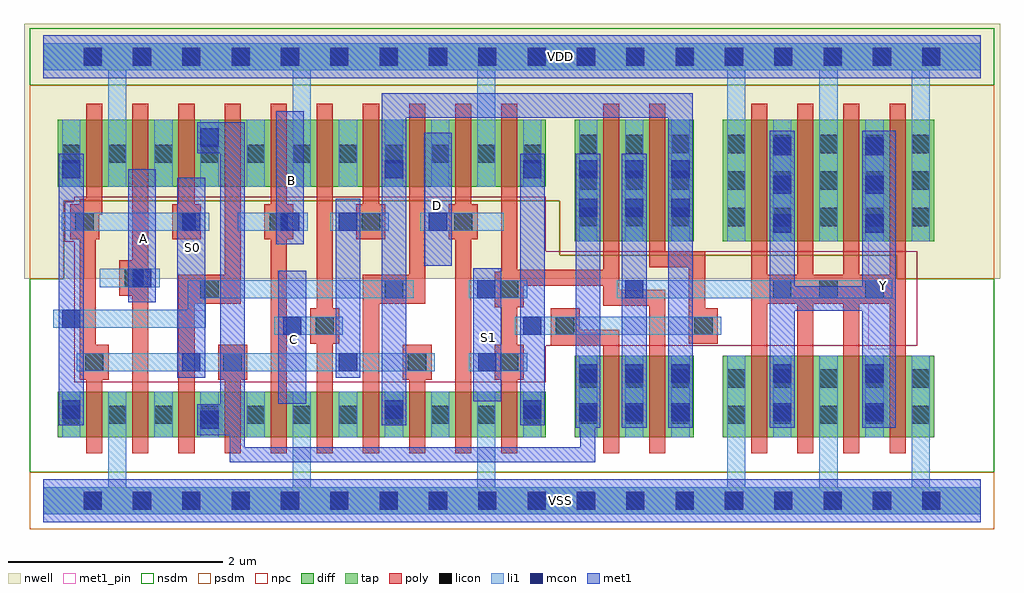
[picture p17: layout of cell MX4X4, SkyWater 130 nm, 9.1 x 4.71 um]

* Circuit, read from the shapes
.subckt MX4X4 A B C D S0 S1 VDD VSS Y
XM1 VSS S0 n1 VSS sky130_fd_pr__nfet_01v8 w=0.425 l=0.15
XM2 n2 A VSS VSS sky130_fd_pr__nfet_01v8 w=0.425 l=0.15
XM3 n3 n1 n2 VSS sky130_fd_pr__nfet_01v8 w=0.425 l=0.15
XM4 n4 S0 n3 VSS sky130_fd_pr__nfet_01v8 w=0.425 l=0.15
XM5 VSS B n4 VSS sky130_fd_pr__nfet_01v8 w=0.425 l=0.15
XM6 n5 C VSS VSS sky130_fd_pr__nfet_01v8 w=0.425 l=0.15
XM7 n6 n1 n5 VSS sky130_fd_pr__nfet_01v8 w=0.425 l=0.15
XM8 n7 S0 n6 VSS sky130_fd_pr__nfet_01v8 w=0.425 l=0.15
XM9 VSS D n7 VSS sky130_fd_pr__nfet_01v8 w=0.425 l=0.15
XM10 n8 S1 VSS VSS sky130_fd_pr__nfet_01v8 w=0.425 l=0.15
XM11 n9 n8 n3 VSS sky130_fd_pr__nfet_01v8 w=0.76 l=0.15
XM12 n6 S1 n9 VSS sky130_fd_pr__nfet_01v8 w=0.76 l=0.15
XM13 Y n9 VSS VSS sky130_fd_pr__nfet_01v8 w=0.76 l=0.15 m=4
XM14 VDD S0 n1 VDD sky130_fd_pr__pfet_01v8 w=0.625 l=0.15
XM15 n10 A VDD VDD sky130_fd_pr__pfet_01v8 w=0.625 l=0.15
XM16 n3 S0 n10 VDD sky130_fd_pr__pfet_01v8 w=0.625 l=0.15
XM17 n11 n1 n3 VDD sky130_fd_pr__pfet_01v8 w=0.625 l=0.15
XM18 VDD B n11 VDD sky130_fd_pr__pfet_01v8 w=0.625 l=0.15
XM19 n12 C VDD VDD sky130_fd_pr__pfet_01v8 w=0.625 l=0.15
XM20 n6 S0 n12 VDD sky130_fd_pr__pfet_01v8 w=0.625 l=0.15
XM21 n13 n1 n6 VDD sky130_fd_pr__pfet_01v8 w=0.625 l=0.15
XM22 VDD D n13 VDD sky130_fd_pr__pfet_01v8 w=0.625 l=0.15
XM23 n8 S1 VDD VDD sky130_fd_pr__pfet_01v8 w=0.625 l=0.15
XM24 n9 S1 n3 VDD sky130_fd_pr__pfet_01v8 w=1.13 l=0.15
XM25 n6 n8 n9 VDD sky130_fd_pr__pfet_01v8 w=1.13 l=0.15
XM26 Y n9 VDD VDD sky130_fd_pr__pfet_01v8 w=1.13 l=0.15 m=4
.ends

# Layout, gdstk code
from math import pi, radians
import gdstk
lib = gdstk.Library(unit=1e-6, precision=1e-09)
def R(c, l, rs):  # rectangles x0, y0, x1, y1
    for r in rs: c.add(gdstk.rectangle(r[:2], r[2:], *l))
def A(c, l, x, y, w, h, nx, ny, dx, dy):  # array of equal rectangles
    R(c, l, [(x+i*dx, y+j*dy, x+i*dx+w, y+j*dy+h) for i in range(nx) for j in range(ny)])
def P(c, l, *ps):  # polygons
    for p in ps: c.add(gdstk.Polygon(p, *l))
nwell = (64, 20)
diff = (65, 20)
tap = (65, 44)
poly = (66, 20)
licon = (66, 44)
li1 = (67, 20)
mcon = (67, 44)
met1_pin = (68, 16)
met1 = (68, 20)
nsdm = (93, 44)
psdm = (94, 20)
npc = (95, 20)

l1m1_c_cdns_750710154090 = lib.new_cell('L1M1_C_CDNS_750710154090')
R(l1m1_c_cdns_750710154090, li1, [(-0.165,-0.085,0.165,0.085)])
R(l1m1_c_cdns_750710154090, mcon, [(-0.085,-0.085,0.085,0.085)])
R(l1m1_c_cdns_750710154090, met1, [(-0.115,-0.145,0.115,0.145)])

pyl1con_c_cdns_750710154 = lib.new_cell('PYL1CON_C_CDNS_750710154092')
R(pyl1con_c_cdns_750710154, poly, [(-0.135,-0.165,0.135,0.165)])
R(pyl1con_c_cdns_750710154, licon, [(-0.085,-0.085,0.085,0.085)])
R(pyl1con_c_cdns_750710154, npc, [(-0.185,-0.185,0.185,0.185)])

l1m1_c_cdns_750710154091 = lib.new_cell('L1M1_C_CDNS_750710154091')
R(l1m1_c_cdns_750710154091, li1, [(-0.085,-0.165,0.085,0.165)])
R(l1m1_c_cdns_750710154091, mcon, [(-0.085,-0.085,0.085,0.085)])
R(l1m1_c_cdns_750710154091, met1, [(-0.115,-0.145,0.115,0.145)])

l1m1_c_cdns_750710154094 = lib.new_cell('L1M1_C_CDNS_750710154094')
R(l1m1_c_cdns_750710154094, li1, [(-0.085,-0.345,0.085,0.345)])
R(l1m1_c_cdns_750710154094, mcon, [(-0.085,-0.265,0.085,-0.095), (-0.085,0.095,0.085,0.265)])
R(l1m1_c_cdns_750710154094, met1, [(-0.115,-0.325,0.115,0.325)])

l1m1_c_cdns_750710154098 = lib.new_cell('L1M1_C_CDNS_750710154098')
R(l1m1_c_cdns_750710154098, li1, [(-0.085,-0.525,0.085,0.525)])
A(l1m1_c_cdns_750710154098, mcon, -0.085, -0.445, 0.17, 0.17, 1, 3, 0, 0.36)
R(l1m1_c_cdns_750710154098, met1, [(-0.115,-0.505,0.115,0.505)])

licondiff_c_cdns_7507101 = lib.new_cell('LICONDIFF_C_CDNS_7507101540911')
R(licondiff_c_cdns_7507101, diff, [(-0.125,-0.145,0.125,0.145)])
R(licondiff_c_cdns_7507101, licon, [(-0.085,-0.085,0.085,0.085), (-0.085,-0.085,0.085,0.085)])

c_pyl1con_c_cdns_750710154 = lib.new_cell('PYL1CON_C_CDNS_750710154099')
R(c_pyl1con_c_cdns_750710154, poly, [(-0.135,-0.29,0.135,0.29)])
R(c_pyl1con_c_cdns_750710154, licon, [(-0.085,-0.085,0.085,0.085)])
R(c_pyl1con_c_cdns_750710154, npc, [(-0.185,-0.185,0.185,0.185)])

mx4x4 = lib.new_cell('MX4X4')
R(mx4x4, nwell, [(-0.18,2.07,8.92,4.445), (4.775,2.24,5.605,3.73), (5.245,2.24,6.245,3.73), (6.155,2.24,8.485,3.73), (-0.045,2.745,0.785,3.73), (0.425,2.745,1.215,3.73), (0.855,2.745,1.645,3.73), (1.285,2.745,2.245,3.73), (1.885,2.745,2.505,3.73), (2.145,2.745,2.935,3.73), (2.575,2.745,3.365,3.73), (3.005,2.745,3.965,3.73), (3.605,2.745,4.395,3.73), (4.035,2.745,4.865,3.73), (-0.18,3.875,8.92,4.445)])
A(mx4x4, diff, 0.4, 0.59, 0.15, 0.425, 10, 1, 0.43, 0)
A(mx4x4, diff, 0.55, 0.59, 0.055, 0.425, 3, 1, 0.43, 0)
A(mx4x4, diff, 0.605, 0.59, 0.225, 0.425, 3, 1, 0.43, 0)
A(mx4x4, diff, 2.27, 0.59, 0.055, 0.425, 3, 1, 0.43, 0)
A(mx4x4, diff, 2.325, 0.59, 0.225, 0.425, 3, 1, 0.43, 0)
A(mx4x4, diff, 6.6, 0.59, 0.15, 0.76, 4, 1, 0.43, 0)
A(mx4x4, diff, 6.75, 0.59, 0.28, 0.76, 3, 1, 0.43, 0)
A(mx4x4, diff, 6.6, 2.42, 0.15, 1.13, 4, 1, 0.43, 0)
A(mx4x4, diff, 6.75, 2.42, 0.28, 1.13, 3, 1, 0.43, 0)
A(mx4x4, diff, 0.4, 2.925, 0.15, 0.625, 10, 1, 0.43, 0)
A(mx4x4, diff, 0.55, 2.925, 0.055, 0.625, 3, 1, 0.43, 0)
A(mx4x4, diff, 0.605, 2.925, 0.225, 0.625, 3, 1, 0.43, 0)
A(mx4x4, diff, 2.27, 2.925, 0.055, 0.625, 3, 1, 0.43, 0)
A(mx4x4, diff, 2.325, 2.925, 0.225, 0.625, 3, 1, 0.43, 0)
R(mx4x4, diff, [(0.135,0.59,0.4,1.015), (1.84,0.59,2.065,1.015), (2.065,0.59,2.12,1.015), (3.56,0.59,3.785,1.015), (3.785,0.59,3.84,1.015), (3.99,0.59,4.215,1.015), (4.215,0.59,4.27,1.015), (4.42,0.59,4.685,1.015), (4.955,0.59,5.22,1.35), (5.22,0.59,5.37,1.35), (5.37,0.59,5.425,1.35), (5.425,0.59,5.65,1.35), (5.65,0.59,5.8,1.35), (5.8,0.59,6.065,1.35), (6.335,0.59,6.6,1.35), (8.04,0.59,8.305,1.35), (4.955,2.42,5.22,3.55), (5.22,2.42,5.37,3.55), (5.37,2.42,5.425,3.55), (5.425,2.42,5.65,3.55), (5.65,2.42,5.8,3.55), (5.8,2.42,6.065,3.55), (6.335,2.42,6.6,3.55), (8.04,2.42,8.305,3.55), (0.135,2.925,0.4,3.55), (1.84,2.925,2.065,3.55), (2.065,2.925,2.12,3.55), (3.56,2.925,3.785,3.55), (3.785,2.925,3.84,3.55), (3.99,2.925,4.215,3.55), (4.215,2.925,4.27,3.55), (4.42,2.925,4.685,3.55)])
A(mx4x4, poly, 0.4, 0.44, 0.15, 0.055, 10, 2, 0.43, 0.67)
A(mx4x4, poly, 6.6, 0.44, 0.15, 0.055, 4, 2, 0.43, 1.005)
A(mx4x4, poly, 0.4, 0.495, 0.15, 0.095, 10, 2, 0.43, 0.52)
A(mx4x4, poly, 6.6, 0.495, 0.15, 0.095, 4, 2, 0.43, 0.855)
A(mx4x4, poly, 0.4, 0.59, 0.15, 0.425, 10, 1, 0.43, 0)
A(mx4x4, poly, 6.6, 0.59, 0.15, 0.76, 4, 1, 0.43, 0)
A(mx4x4, poly, 6.6, 2.27, 0.15, 0.055, 4, 2, 0.43, 1.375)
A(mx4x4, poly, 6.6, 2.325, 0.15, 0.095, 4, 2, 0.43, 1.225)
A(mx4x4, poly, 6.6, 2.42, 0.15, 1.13, 4, 1, 0.43, 0)
A(mx4x4, poly, 0.83, 2.725, 0.15, 0.055, 9, 1, 0.43, 0)
A(mx4x4, poly, 1.69, 2.83, 0.15, 0.095, 3, 1, 0.43, 0)
A(mx4x4, poly, 3.41, 2.83, 0.15, 0.095, 3, 1, 0.43, 0)
A(mx4x4, poly, 0.4, 2.925, 0.15, 0.625, 10, 1, 0.43, 0)
A(mx4x4, poly, 0.4, 3.55, 0.15, 0.095, 10, 1, 0.43, 0)
A(mx4x4, poly, 0.4, 3.645, 0.15, 0.055, 10, 1, 0.43, 0)
R(mx4x4, poly, [(5.22,0.44,5.37,0.495), (5.65,0.44,5.8,0.495), (5.22,0.495,5.37,0.59), (5.65,0.495,5.8,0.59), (5.22,0.59,5.37,1.35), (5.65,0.59,5.8,1.35), (5.22,1.35,5.37,1.445), (5.65,1.35,5.8,1.445), (5.22,1.445,5.37,1.5), (5.65,1.445,5.8,1.5), (5.22,2.27,5.37,2.325), (5.65,2.27,5.8,2.325), (5.22,2.325,5.37,2.42), (5.65,2.325,5.8,2.42), (5.22,2.42,5.37,3.55), (5.65,2.42,5.8,3.55), (2.98,2.765,3.13,2.925), (1.26,2.775,1.41,2.925), (0.4,2.795,0.55,2.85), (0.4,2.83,0.55,2.925), (0.83,2.83,0.98,2.925), (5.22,3.55,5.37,3.645), (5.65,3.55,5.8,3.645), (5.22,3.645,5.37,3.7), (5.65,3.645,5.8,3.7)])
A(mx4x4, licon, 0.375, -0.085, 0.17, 0.17, 18, 2, 0.46, 4.14)
A(mx4x4, licon, 0.605, 0.715, 0.17, 0.17, 5, 2, 0.86, 2.435)
A(mx4x4, licon, 4.995, 0.715, 0.17, 0.17, 3, 2, 0.43, 0.34)
A(mx4x4, licon, 6.375, 0.715, 0.17, 0.17, 5, 2, 0.43, 0.34)
A(mx4x4, licon, 4.995, 2.56, 0.17, 0.17, 3, 3, 0.43, 0.34)
A(mx4x4, licon, 6.375, 2.56, 0.17, 0.17, 5, 3, 0.43, 0.34)
R(mx4x4, licon, [(0.175,0.715,0.345,0.885), (4.475,0.715,4.645,0.885), (0.175,3.15,0.345,3.32), (4.475,3.15,4.645,3.32)])
A(mx4x4, li1, 0.605, 0.59, 0.17, 0.425, 5, 1, 0.86, 0)
A(mx4x4, li1, 4.995, 0.59, 0.17, 0.76, 3, 1, 0.43, 0)
A(mx4x4, li1, 6.375, 0.59, 0.17, 0.76, 5, 1, 0.43, 0)
A(mx4x4, li1, 4.995, 2.42, 0.17, 1.13, 3, 1, 0.43, 0)
A(mx4x4, li1, 6.375, 2.42, 0.17, 1.13, 5, 1, 0.43, 0)
A(mx4x4, li1, 0.605, 2.925, 0.17, 0.625, 5, 1, 0.86, 0)
R(mx4x4, li1, [(0.175,0.59,0.345,1.015), (4.475,0.59,4.645,1.015), (0.175,2.925,0.345,3.55), (4.475,2.925,4.645,3.55)])
A(mx4x4, mcon, 0.375, -0.085, 0.17, 0.17, 18, 2, 0.46, 4.14)
R(mx4x4, met1_pin, [(2.19,0.905,2.45,2.145), (4.01,0.925,4.27,2.165), (7.69,1.41,7.95,2.65), (1.25,1.77,1.51,3.01), (0.79,1.85,1.05,3.09), (3.55,2.19,3.81,3.43), (2.17,2.39,2.43,3.63)])
R(mx4x4, met1, [(7.635,0.68,7.95,3.45)])
R(mx4x4, nsdm, [(-0.005,0.46,0.615,1.145), (0.595,0.46,1.045,1.145), (1.025,0.46,1.475,1.145), (1.455,0.46,2.075,1.145), (2.055,0.46,2.335,1.145), (2.315,0.46,2.765,1.145), (2.745,0.46,3.195,1.145), (3.175,0.46,3.795,1.145), (3.775,0.46,4.225,1.145), (4.205,0.46,4.825,1.145), (4.815,0.46,5.435,1.48), (5.415,0.46,6.205,1.48), (6.195,0.46,8.445,1.48), (-0.125,3.875,8.865,4.405), (-0.125,3.93,8.865,4.35)])
P(mx4x4, nsdm, [(8.865,2.07),(7.955,2.07),(7.955,2.29),(4.815,2.29),(4.815,2.795),(0.19,2.795),(0.19,2.07),(-0.125,2.07),(-0.125,0.265),(8.865,0.265)])
R(mx4x4, psdm, [(-0.125,-0.265,8.865,0.265), (-0.125,-0.21,8.865,0.21), (4.815,2.29,5.435,3.68), (5.415,2.29,6.205,3.68), (6.195,2.29,8.445,3.68), (-0.005,2.795,0.615,3.68), (0.595,2.795,1.045,3.68), (1.025,2.795,1.475,3.68), (1.455,2.795,2.075,3.68), (2.055,2.795,2.335,3.68), (2.315,2.795,2.765,3.68), (2.745,2.795,3.195,3.68), (3.175,2.795,3.795,3.68), (3.775,2.795,4.225,3.68), (4.205,2.795,4.825,3.68)])
P(mx4x4, psdm, [(8.865,3.875),(-0.125,3.875),(-0.125,2.07),(0.19,2.07),(0.19,2.795),(4.815,2.795),(4.815,2.29),(7.955,2.29),(7.955,2.07),(8.865,2.07)])
P(mx4x4, npc, [(8.15,2.325),(4.685,2.325),(4.685,2.835),(0.29,2.835),(0.29,1.105),(4.685,1.105),(4.685,1.445),(8.15,1.445)])
mx4x4.add(gdstk.FlexPath([(7.965,1.445),(7.965,2.325)], 0.15, ends="flush", simple_path=True, layer=66, datatype=20))  # poly
mx4x4.add(gdstk.FlexPath([(7.535,1.445),(7.535,2.325)], 0.15, ends="flush", simple_path=True, layer=66, datatype=20))  # poly
mx4x4.add(gdstk.FlexPath([(6.675,1.445),(6.675,2.325)], 0.15, ends="flush", simple_path=True, layer=66, datatype=20))  # poly
mx4x4.add(gdstk.FlexPath([(7.105,1.445),(7.105,2.325)], 0.15, ends="flush", simple_path=True, layer=66, datatype=20))  # poly
mx4x4.add(gdstk.FlexPath([(3.915,1.11),(3.915,2.83)], 0.15, ends="flush", simple_path=True, layer=66, datatype=20))  # poly
mx4x4.add(gdstk.FlexPath([(4.345,1.11),(4.345,2.83)], 0.15, ends="flush", simple_path=True, layer=66, datatype=20))  # poly
mx4x4.add(gdstk.FlexPath([(0.905,1.11),(0.905,2.83)], 0.15, ends="flush", simple_path=True, layer=66, datatype=20))  # poly
mx4x4.add(gdstk.FlexPath([(2.195,1.11),(2.195,2.83)], 0.15, ends="flush", simple_path=True, layer=66, datatype=20))  # poly
mx4x4.add(gdstk.FlexPath([(2.625,1.11),(2.625,2.83)], 0.15, ends="flush", simple_path=True, layer=66, datatype=20))  # poly
mx4x4.add(gdstk.FlexPath([(5.295,1.89),(5.295,2.325)], 0.15, ends=(0.075, 0), simple_path=True, layer=66, datatype=20))  # poly
mx4x4.add(gdstk.FlexPath([(5.295,1.89),(5.725,1.89)], 0.15, ends="extended", simple_path=True, layer=66, datatype=20))  # poly
mx4x4.add(gdstk.FlexPath([(5.725,1.89),(5.725,1.445)], 0.15, ends=(0.075, 0), simple_path=True, layer=66, datatype=20))  # poly
mx4x4.add(gdstk.FlexPath([(5.65,2.25),(6.095,2.25)], 0.15, ends=(0, 0.075), simple_path=True, layer=66, datatype=20))  # poly
mx4x4.add(gdstk.FlexPath([(6.095,2.25),(6.095,1.465)], 0.15, ends=(0.075, 0), simple_path=True, layer=66, datatype=20))  # poly
mx4x4.add(gdstk.FlexPath([(5.37,2.08),(4.27,2.08)], 0.15, ends="flush", simple_path=True, layer=66, datatype=20))  # poly
mx4x4.add(gdstk.FlexPath([(5.37,1.52),(4.73,1.52)], 0.15, ends="flush", simple_path=True, layer=66, datatype=20))  # poly
mx4x4.add(gdstk.FlexPath([(1.765,2.83),(1.765,1.97)], 0.15, ends=(0, 0.075), simple_path=True, layer=66, datatype=20))  # poly
mx4x4.add(gdstk.FlexPath([(1.765,1.97),(1.335,1.97)], 0.15, ends="extended", simple_path=True, layer=66, datatype=20))  # poly
mx4x4.add(gdstk.FlexPath([(1.335,1.97),(1.335,1.11)], 0.15, ends=(0.075, 0), simple_path=True, layer=66, datatype=20))  # poly
mx4x4.add(gdstk.FlexPath([(3.485,2.83),(3.485,1.97)], 0.15, ends=(0, 0.075), simple_path=True, layer=66, datatype=20))  # poly
mx4x4.add(gdstk.FlexPath([(3.485,1.97),(3.055,1.97)], 0.15, ends="extended", simple_path=True, layer=66, datatype=20))  # poly
mx4x4.add(gdstk.FlexPath([(3.055,1.97),(3.055,1.11)], 0.15, ends=(0.075, 0), simple_path=True, layer=66, datatype=20))  # poly
mx4x4.add(gdstk.FlexPath([(0.415,1.125),(0.415,2.74)], 0.15, ends=(0, 0.075), simple_path=True, layer=66, datatype=20))  # poly
mx4x4.add(gdstk.FlexPath([(0.415,2.74),(0.55,2.74)], 0.15, ends=(0.075, 0), simple_path=True, layer=66, datatype=20))  # poly
mx4x4.add(gdstk.FlexPath([(0,4.14),(8.74,4.14)], 0.4, ends="flush", simple_path=True, layer=68, datatype=16))  # met1_pin
mx4x4.add(gdstk.FlexPath([(0,0),(8.74,0)], 0.4, ends="flush", simple_path=True, layer=68, datatype=16))  # met1_pin
mx4x4.add(gdstk.FlexPath([(5.075,0.79),(5.08,0.79)], 0.14, ends=(0.07, 0), simple_path=True, layer=68, datatype=20))  # met1
mx4x4.add(gdstk.FlexPath([(5.075,0.43),(5.075,0.79)], 0.14, ends="extended", simple_path=True, layer=68, datatype=20))  # met1
mx4x4.add(gdstk.FlexPath([(1.81,0.43),(5.075,0.43)], 0.14, ends="extended", simple_path=True, layer=68, datatype=20))  # met1
mx4x4.add(gdstk.FlexPath([(1.81,1.555),(1.81,0.43)], 0.14, ends=(0, 0.07), simple_path=True, layer=68, datatype=20))  # met1
mx4x4.add(gdstk.FlexPath([(0,4.14),(8.74,4.14)], 0.4, ends="flush", simple_path=True, layer=68, datatype=20))  # met1
mx4x4.add(gdstk.FlexPath([(7.82,0.68),(7.82,3.45)], 0.26, ends="flush", simple_path=True, layer=68, datatype=20))  # met1
mx4x4.add(gdstk.FlexPath([(2.32,0.905),(2.32,2.145)], 0.26, ends="flush", simple_path=True, layer=68, datatype=20))  # met1
mx4x4.add(gdstk.FlexPath([(2.3,2.39),(2.3,3.63)], 0.26, ends="flush", simple_path=True, layer=68, datatype=20))  # met1
mx4x4.add(gdstk.FlexPath([(0.92,1.85),(0.92,3.09)], 0.26, ends="flush", simple_path=True, layer=68, datatype=20))  # met1
mx4x4.add(gdstk.FlexPath([(0,0),(8.74,0)], 0.4, ends="flush", simple_path=True, layer=68, datatype=20))  # met1
mx4x4.add(gdstk.FlexPath([(1.38,1.145),(1.38,3.01)], 0.26, ends="flush", simple_path=True, layer=68, datatype=20))  # met1
mx4x4.add(gdstk.FlexPath([(4.14,0.925),(4.14,2.165)], 0.26, ends="flush", simple_path=True, layer=68, datatype=20))  # met1
mx4x4.add(gdstk.FlexPath([(0.26,0.705),(0.26,3.235)], 0.23, ends="flush", simple_path=True, layer=68, datatype=20))  # met1
mx4x4.add(gdstk.FlexPath([(6.89,1.885),(7.75,1.885)], 0.23, ends="extended", simple_path=True, layer=68, datatype=20))  # met1
mx4x4.add(gdstk.FlexPath([(6.89,0.68),(6.89,3.45)], 0.23, ends="flush", simple_path=True, layer=68, datatype=20))  # met1
mx4x4.add(gdstk.FlexPath([(5.51,0.68),(5.51,3.235)], 0.23, ends="flush", simple_path=True, layer=68, datatype=20))  # met1
mx4x4.add(gdstk.FlexPath([(1.765,0.61),(1.765,3.53)], 0.23, ends="flush", simple_path=True, layer=68, datatype=20))  # met1
mx4x4.add(gdstk.FlexPath([(4.56,0.705),(4.56,3.235)], 0.23, ends="flush", simple_path=True, layer=68, datatype=20))  # met1
mx4x4.add(gdstk.FlexPath([(5.08,0.68),(5.08,3.235)], 0.23, ends="flush", simple_path=True, layer=68, datatype=20))  # met1
mx4x4.add(gdstk.FlexPath([(5.94,0.68),(5.94,3.685)], 0.23, ends=(0, 0.115), simple_path=True, layer=68, datatype=20))  # met1
mx4x4.add(gdstk.FlexPath([(3.27,0.705),(3.27,3.685)], 0.23, ends=(0, 0.115), simple_path=True, layer=68, datatype=20))  # met1
mx4x4.add(gdstk.FlexPath([(5.94,3.685),(3.27,3.685)], 0.23, ends="extended", simple_path=True, layer=68, datatype=20))  # met1
mx4x4.add(gdstk.FlexPath([(3.68,2.19),(3.68,3.43)], 0.26, ends="flush", simple_path=True, layer=68, datatype=20))  # met1
mx4x4.add(gdstk.FlexPath([(2.84,2.815),(2.84,1.145)], 0.23, ends="flush", simple_path=True, layer=68, datatype=20))  # met1
mx4x4.add(gdstk.FlexPath([(1.43,1.695),(0.26,1.695)], 0.17, ends=(0.085, 0), simple_path=True, layer=67, datatype=20))  # li1
mx4x4.add(gdstk.FlexPath([(0,0),(8.74,0)], 0.25, ends="flush", simple_path=True, layer=67, datatype=20))  # li1
mx4x4.add(gdstk.FlexPath([(0,4.14),(8.74,4.14)], 0.25, ends="flush", simple_path=True, layer=67, datatype=20))  # li1
mx4x4.add(gdstk.FlexPath([(3.965,1.97),(4.51,1.97)], 0.17, ends="flush", simple_path=True, layer=67, datatype=20))  # li1
mx4x4.add(gdstk.FlexPath([(0.69,1.015),(0.69,0)], 0.17, ends=(0, 0.125), simple_path=True, layer=67, datatype=20))  # li1
mx4x4.add(gdstk.FlexPath([(0.525,2.075),(1.03,2.075)], 0.17, ends="flush", simple_path=True, layer=67, datatype=20))  # li1
mx4x4.add(gdstk.FlexPath([(0.49,1.375),(0.49,1.29)], 0.17, ends=(0, 0.085), simple_path=True, layer=67, datatype=20))  # li1
mx4x4.add(gdstk.FlexPath([(0.31,1.29),(3.65,1.29)], 0.17, ends="flush", simple_path=True, layer=67, datatype=20))  # li1
mx4x4.add(gdstk.FlexPath([(0.69,2.925),(0.69,4.14)], 0.17, ends=(0, 0.125), simple_path=True, layer=67, datatype=20))  # li1
mx4x4.add(gdstk.FlexPath([(8.18,2.925),(8.18,4.14)], 0.17, ends=(0, 0.125), simple_path=True, layer=67, datatype=20))  # li1
mx4x4.add(gdstk.FlexPath([(8.18,1.015),(8.18,0)], 0.17, ends=(0, 0.125), simple_path=True, layer=67, datatype=20))  # li1
mx4x4.add(gdstk.FlexPath([(5.345,1.97),(7.915,1.97)], 0.17, ends="flush", simple_path=True, layer=67, datatype=20))  # li1
mx4x4.add(gdstk.FlexPath([(4.395,1.63),(6.32,1.63)], 0.17, ends="flush", simple_path=True, layer=67, datatype=20))  # li1
mx4x4.add(gdstk.FlexPath([(0.17,2.6),(1.5,2.6)], 0.17, ends="flush", simple_path=True, layer=67, datatype=20))  # li1
mx4x4.add(gdstk.FlexPath([(3.22,2.6),(2.675,2.6)], 0.17, ends="flush", simple_path=True, layer=67, datatype=20))  # li1
mx4x4.add(gdstk.FlexPath([(3.7,0.59),(3.7,1.015)], 0.17, ends="flush", simple_path=True, layer=67, datatype=20))  # li1
mx4x4.add(gdstk.FlexPath([(3.7,2.925),(3.7,3.55)], 0.17, ends="flush", simple_path=True, layer=67, datatype=20))  # li1
mx4x4.add(gdstk.FlexPath([(2.41,1.015),(2.41,0)], 0.17, ends=(0, 0.125), simple_path=True, layer=67, datatype=20))  # li1
mx4x4.add(gdstk.FlexPath([(2.41,2.925),(2.41,4.14)], 0.17, ends=(0, 0.125), simple_path=True, layer=67, datatype=20))  # li1
mx4x4.add(gdstk.FlexPath([(4.13,1.015),(4.13,0)], 0.17, ends=(0, 0.125), simple_path=True, layer=67, datatype=20))  # li1
mx4x4.add(gdstk.FlexPath([(4.13,2.925),(4.13,4.14)], 0.17, ends=(0, 0.125), simple_path=True, layer=67, datatype=20))  # li1
mx4x4.add(gdstk.FlexPath([(7.32,1.015),(7.32,0)], 0.17, ends=(0, 0.125), simple_path=True, layer=67, datatype=20))  # li1
mx4x4.add(gdstk.FlexPath([(7.32,2.925),(7.32,4.14)], 0.17, ends=(0, 0.125), simple_path=True, layer=67, datatype=20))  # li1
mx4x4.add(gdstk.FlexPath([(6.46,1.015),(6.46,0)], 0.17, ends=(0, 0.125), simple_path=True, layer=67, datatype=20))  # li1
mx4x4.add(gdstk.FlexPath([(6.46,2.925),(6.46,4.14)], 0.17, ends=(0, 0.125), simple_path=True, layer=67, datatype=20))  # li1
mx4x4.add(gdstk.FlexPath([(1.43,1.97),(1.43,1.695)], 0.17, ends="extended", simple_path=True, layer=67, datatype=20))  # li1
mx4x4.add(gdstk.FlexPath([(3.965,1.29),(4.51,1.29)], 0.17, ends="flush", simple_path=True, layer=67, datatype=20))  # li1
mx4x4.add(gdstk.FlexPath([(3.75,2.6),(4.295,2.6)], 0.17, ends="flush", simple_path=True, layer=67, datatype=20))  # li1
mx4x4.add(gdstk.FlexPath([(2.79,1.63),(2.245,1.63)], 0.17, ends="flush", simple_path=True, layer=67, datatype=20))  # li1
mx4x4.add(gdstk.FlexPath([(2.36,2.6),(1.815,2.6)], 0.17, ends="flush", simple_path=True, layer=67, datatype=20))  # li1
mx4x4.add(gdstk.FlexPath([(1.97,1.97),(1.43,1.97)], 0.17, ends=(0, 0.085), simple_path=True, layer=67, datatype=20))  # li1
mx4x4.add(gdstk.FlexPath([(1.365,1.97),(3.455,1.97)], 0.17, ends="flush", simple_path=True, layer=67, datatype=20))  # li1
mx4x4.add(gdstk.FlexPath([(1.12,0.59),(1.12,1.015)], 0.17, ends="flush", simple_path=True, layer=67, datatype=20))  # li1
mx4x4.add(gdstk.FlexPath([(1.12,2.925),(1.12,3.55)], 0.17, ends="flush", simple_path=True, layer=67, datatype=20))  # li1
mx4x4.add(gdstk.FlexPath([(1.98,0.59),(1.98,1.015)], 0.17, ends="flush", simple_path=True, layer=67, datatype=20))  # li1
mx4x4.add(gdstk.FlexPath([(1.98,2.925),(1.98,3.55)], 0.17, ends="flush", simple_path=True, layer=67, datatype=20))  # li1
mx4x4.add(gdstk.FlexPath([(2.84,0.59),(2.84,1.015)], 0.17, ends="flush", simple_path=True, layer=67, datatype=20))  # li1
mx4x4.add(gdstk.FlexPath([(2.84,2.925),(2.84,3.55)], 0.17, ends="flush", simple_path=True, layer=67, datatype=20))  # li1
mx4x4.add(gdstk.FlexPath([(0,0),(8.74,0)], 0.25, ends="flush", simple_path=True, layer=65, datatype=44))  # tap
mx4x4.add(gdstk.FlexPath([(0,4.14),(8.74,4.14)], 0.25, ends="flush", simple_path=True, layer=65, datatype=44))  # tap
mx4x4.add(gdstk.Reference(l1m1_c_cdns_750710154090, (4.14,1.29), x_reflection=True))
mx4x4.add(gdstk.Reference(l1m1_c_cdns_750710154090, (4.13,1.97)))
mx4x4.add(gdstk.Reference(l1m1_c_cdns_750710154090, (1.38,2.6), x_reflection=True))
mx4x4.add(gdstk.Reference(l1m1_c_cdns_750710154090, (2.84,1.29), rotation=pi, x_reflection=True))
mx4x4.add(gdstk.Reference(l1m1_c_cdns_750710154090, (2.84,2.6)))
mx4x4.add(gdstk.Reference(l1m1_c_cdns_750710154090, (2.3,2.6), x_reflection=True))
mx4x4.add(gdstk.Reference(l1m1_c_cdns_750710154090, (2.32,1.63), x_reflection=True))
mx4x4.add(gdstk.Reference(l1m1_c_cdns_750710154090, (0.26,1.695), rotation=pi, x_reflection=True))
mx4x4.add(gdstk.Reference(l1m1_c_cdns_750710154090, (3.68,2.6), x_reflection=True))
mx4x4.add(gdstk.Reference(l1m1_c_cdns_750710154090, (4.56,1.63)))
mx4x4.add(gdstk.Reference(l1m1_c_cdns_750710154090, (5.51,1.97)))
mx4x4.add(gdstk.Reference(l1m1_c_cdns_750710154090, (1.38,1.29), x_reflection=True))
mx4x4.add(gdstk.Reference(l1m1_c_cdns_750710154090, (0.92,2.075), x_reflection=True))
mx4x4.add(gdstk.Reference(pyl1con_c_cdns_750710154, (4.345,1.97), x_reflection=True))
mx4x4.add(gdstk.Reference(pyl1con_c_cdns_750710154, (3.055,2.6), x_reflection=True))
mx4x4.add(gdstk.Reference(pyl1con_c_cdns_750710154, (1.335,2.6), rotation=pi))
mx4x4.add(gdstk.Reference(pyl1con_c_cdns_750710154, (0.385,2.6), rotation=pi))
mx4x4.add(gdstk.Reference(pyl1con_c_cdns_750710154, (2.195,2.6), x_reflection=True))
mx4x4.add(gdstk.Reference(pyl1con_c_cdns_750710154, (2.625,1.63)))
mx4x4.add(gdstk.Reference(pyl1con_c_cdns_750710154, (3.485,1.29), rotation=pi))
mx4x4.add(gdstk.Reference(pyl1con_c_cdns_750710154, (1.765,1.29), rotation=pi))
mx4x4.add(gdstk.Reference(pyl1con_c_cdns_750710154, (3.915,2.6), rotation=pi))
mx4x4.add(gdstk.Reference(pyl1con_c_cdns_750710154, (4.345,1.29), x_reflection=True))
mx4x4.add(gdstk.Reference(pyl1con_c_cdns_750710154, (4.865,1.63)))
mx4x4.add(gdstk.Reference(pyl1con_c_cdns_750710154, (6.155,1.63)))
mx4x4.add(gdstk.Reference(pyl1con_c_cdns_750710154, (7.75,1.97), rotation=3*pi/2))
mx4x4.add(gdstk.Reference(pyl1con_c_cdns_750710154, (7.32,1.97), rotation=3*pi/2))
mx4x4.add(gdstk.Reference(pyl1con_c_cdns_750710154, (6.89,1.97), rotation=3*pi/2))
mx4x4.add(gdstk.Reference(pyl1con_c_cdns_750710154, (0.475,1.29), rotation=pi))
mx4x4.add(gdstk.Reference(pyl1con_c_cdns_750710154, (0.845,2.075)))
mx4x4.add(gdstk.Reference(l1m1_c_cdns_750710154091, (4.56,3.09), rotation=pi, x_reflection=True))
mx4x4.add(gdstk.Reference(l1m1_c_cdns_750710154091, (4.56,0.85), rotation=pi, x_reflection=True))
mx4x4.add(gdstk.Reference(l1m1_c_cdns_750710154091, (3.27,3.09), rotation=pi, x_reflection=True))
mx4x4.add(gdstk.Reference(l1m1_c_cdns_750710154091, (3.27,0.85), rotation=pi, x_reflection=True))
mx4x4.add(gdstk.Reference(l1m1_c_cdns_750710154091, (1.55,3.385), rotation=pi, x_reflection=True))
mx4x4.add(gdstk.Reference(l1m1_c_cdns_750710154091, (1.55,0.755), rotation=pi, x_reflection=True))
mx4x4.add(gdstk.Reference(l1m1_c_cdns_750710154091, (0.26,0.85), rotation=pi, x_reflection=True))
mx4x4.add(gdstk.Reference(l1m1_c_cdns_750710154091, (0.26,3.09), rotation=pi, x_reflection=True))
mx4x4.add(gdstk.Reference(l1m1_c_cdns_750710154094, (5.94,1.005)))
mx4x4.add(gdstk.Reference(l1m1_c_cdns_750710154094, (5.94,2.91)))
mx4x4.add(gdstk.Reference(l1m1_c_cdns_750710154094, (5.08,1.005)))
mx4x4.add(gdstk.Reference(l1m1_c_cdns_750710154094, (5.08,2.91)))
mx4x4.add(gdstk.Reference(l1m1_c_cdns_750710154094, (5.51,2.91)))
mx4x4.add(gdstk.Reference(l1m1_c_cdns_750710154094, (5.51,1.005)))
mx4x4.add(gdstk.Reference(l1m1_c_cdns_750710154094, (6.89,1.005)))
mx4x4.add(gdstk.Reference(l1m1_c_cdns_750710154094, (7.75,1.005)))
mx4x4.add(gdstk.Reference(l1m1_c_cdns_750710154098, (6.89,2.945)))
mx4x4.add(gdstk.Reference(l1m1_c_cdns_750710154098, (7.75,2.945)))
mx4x4.add(gdstk.Reference(licondiff_c_cdns_7507101, (3.7,3.235)))
mx4x4.add(gdstk.Reference(licondiff_c_cdns_7507101, (3.7,0.8)))
mx4x4.add(gdstk.Reference(licondiff_c_cdns_7507101, (2.84,3.235)))
mx4x4.add(gdstk.Reference(licondiff_c_cdns_7507101, (2.84,0.8)))
mx4x4.add(gdstk.Reference(licondiff_c_cdns_7507101, (1.98,3.235)))
mx4x4.add(gdstk.Reference(licondiff_c_cdns_7507101, (1.98,0.8)))
mx4x4.add(gdstk.Reference(licondiff_c_cdns_7507101, (1.12,3.235)))
mx4x4.add(gdstk.Reference(licondiff_c_cdns_7507101, (1.12,0.8)))
mx4x4.add(gdstk.Reference(c_pyl1con_c_cdns_750710154, (1.55,1.97), rotation=3*pi/2))
mx4x4.add(gdstk.Reference(c_pyl1con_c_cdns_750710154, (3.27,1.97), rotation=3*pi/2))
mx4x4.add(gdstk.Label('VDD', (4.825,4.145), layer=68, texttype=5))
mx4x4.add(gdstk.Label('D', (3.68,2.75), layer=68, texttype=5))
mx4x4.add(gdstk.Label('Y', (7.835,2.005), layer=68, texttype=5))
mx4x4.add(gdstk.Label('C', (2.335,1.5), layer=68, texttype=5))
mx4x4.add(gdstk.Label('B', (2.315,2.985), layer=68, texttype=5))
mx4x4.add(gdstk.Label('A', (0.935,2.445), layer=68, texttype=5))
mx4x4.add(gdstk.Label('S0', (1.395,2.365), layer=68, texttype=5))
mx4x4.add(gdstk.Label('S1', (4.155,1.52), layer=68, texttype=5))
mx4x4.add(gdstk.Label('VSS', (4.825,0.005), layer=68, texttype=5))

lib.write_gds('MX4X4.gds')
